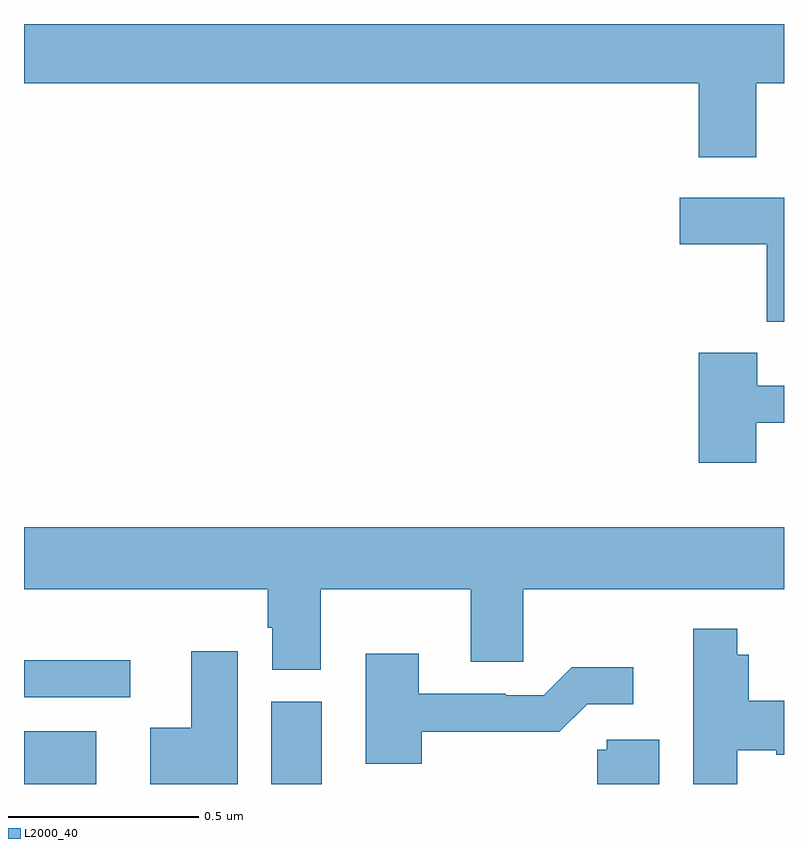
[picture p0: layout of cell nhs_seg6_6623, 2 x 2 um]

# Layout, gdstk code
import gdstk
lib = gdstk.Library(unit=1e-6, precision=1e-09)
def R(c, l, rs):  # rectangles x0, y0, x1, y1
    for r in rs: c.add(gdstk.rectangle(r[:2], r[2:], *l))
def P(c, l, *ps):  # polygons
    for p in ps: c.add(gdstk.Polygon(p, *l))
L2000_40 = (2000, 40)

nhs_seg6_6623 = lib.new_cell('nhs_seg6_6623')
R(nhs_seg6_6623, L2000_40, [(198,937.5,198.19,937.639), (198.65,937.5,198.784,937.716), (198,937.728,198.28,937.826)])
P(nhs_seg6_6623, L2000_40, [(199.927,939.344),(200,939.344),(200,939.5),(198,939.5),(198,939.344),(199.775,939.344),(199.775,939.15),(199.927,939.15)],
  [(200,939.043),(199.725,939.043),(199.725,938.921),(199.954,938.921),(199.954,938.717),(200,938.717)],
  [(199.927,938.451),(200,938.451),(200,938.548),(199.93,938.548),(199.93,938.635),(199.775,938.635),(199.775,938.346),(199.927,938.346)],
  [(198.781,938.012),(199.175,938.012),(199.175,937.822),(199.314,937.822),(199.314,938.012),(200,938.012),(200,938.176),(198,938.176),(198,938.012),(198.641,938.012),(198.641,937.911),(198.653,937.911),(198.653,937.801),(198.781,937.801)],
  [(199.877,937.589),(199.98,937.589),(199.98,937.577),(200,937.577),(200,937.719),(199.907,937.719),(199.907,937.84),(199.877,937.84),(199.877,937.909),(199.761,937.909),(199.761,937.5),(199.877,937.5)],
  [(198.562,937.849),(198.44,937.849),(198.44,937.648),(198.332,937.648),(198.332,937.5),(198.562,937.5)],
  [(199.047,937.638),(199.31,937.638),(199.31,937.637),(199.409,937.637),(199.482,937.71),(199.603,937.71),(199.603,937.807),(199.441,937.807),(199.368,937.734),(199.268,937.734),(199.268,937.737),(199.039,937.737),(199.039,937.843),(198.899,937.843),(198.899,937.553),(199.047,937.553)],
  [(199.672,937.617),(199.533,937.617),(199.533,937.59),(199.508,937.59),(199.508,937.5),(199.672,937.5)])

lib.write_gds('nhs_seg6_6623.gds')
